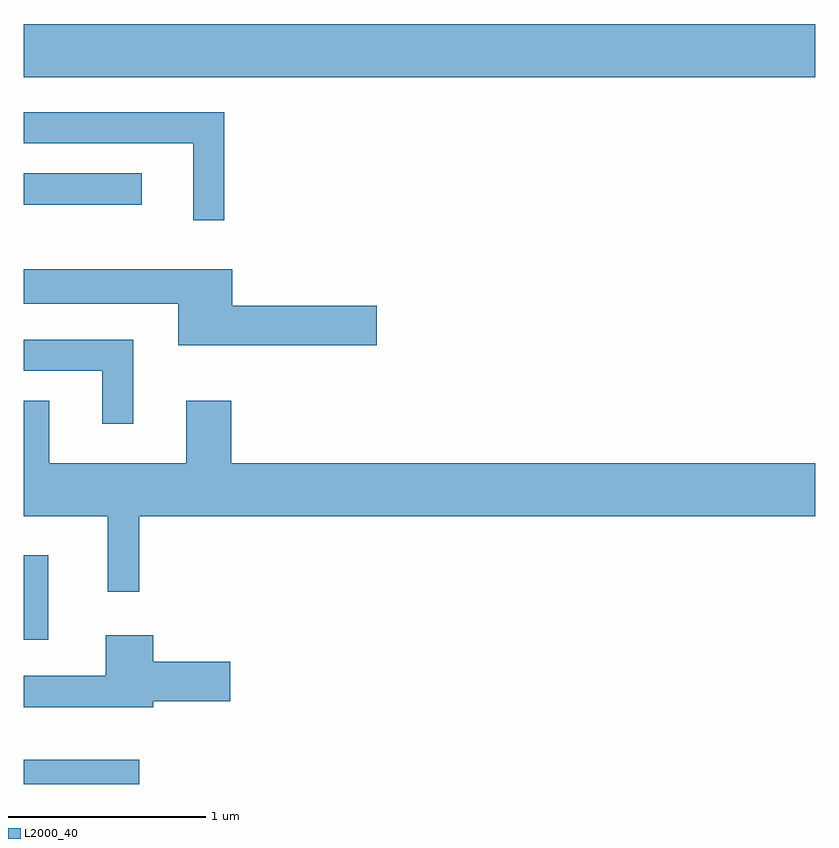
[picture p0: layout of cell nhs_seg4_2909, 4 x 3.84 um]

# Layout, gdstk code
import gdstk
lib = gdstk.Library(unit=1e-6, precision=1e-09)
def R(c, l, rs):  # rectangles x0, y0, x1, y1
    for r in rs: c.add(gdstk.rectangle(r[:2], r[2:], *l))
def P(c, l, *ps):  # polygons
    for p in ps: c.add(gdstk.Polygon(p, *l))
L2000_40 = (2000, 40)

nhs_seg4_2909 = lib.new_cell('nhs_seg4_2909')
R(nhs_seg4_2909, L2000_40, [(269.611,1359.982,270.194,1360.104), (269.611,1360.711,269.734,1361.138), (269.611,1362.911,270.208,1363.069), (269.611,1363.556,273.611,1363.824)])
P(nhs_seg4_2909, L2000_40, [(270.624,1363.379),(269.611,1363.379),(269.611,1363.221),(270.466,1363.221),(270.466,1362.833),(270.624,1362.833)],
  [(271.394,1362.399),(270.664,1362.399),(270.664,1362.584),(269.611,1362.584),(269.611,1362.411),(270.391,1362.411),(270.391,1362.201),(271.394,1362.201)],
  [(270.164,1362.229),(269.611,1362.229),(269.611,1362.071),(270.006,1362.071),(270.006,1361.803),(270.164,1361.803)],
  [(270.194,1361.336),(273.611,1361.336),(273.611,1361.604),(270.659,1361.604),(270.659,1361.919),(270.431,1361.919),(270.431,1361.604),(269.739,1361.604),(269.739,1361.919),(269.611,1361.919),(269.611,1361.336),(270.036,1361.336),(270.036,1360.953),(270.194,1360.953)],
  [(270.264,1360.401),(270.654,1360.401),(270.654,1360.599),(270.264,1360.599),(270.264,1360.734),(270.026,1360.734),(270.026,1360.529),(269.611,1360.529),(269.611,1360.371),(270.264,1360.371)])

lib.write_gds('nhs_seg4_2909.gds')
